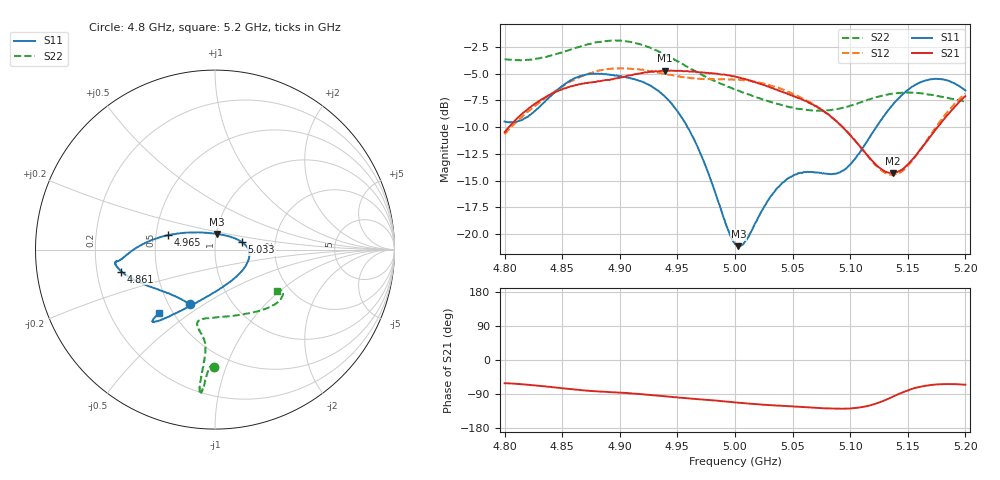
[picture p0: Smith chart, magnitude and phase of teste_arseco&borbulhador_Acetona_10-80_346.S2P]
! Network Analyzer HP8722D
! Hewlett-Packard
! Data name: Linha & Wilkinson
! Saver's name: Rodrigo Anjos
! Comments: Teste da utilização de aquisição
! continua pelo VNA HP8722D
! Time and date: 17/4/2025 17:14
!  Frequency  S11  S21  S12  S22
# HZ  S  MA R 50
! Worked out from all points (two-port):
!   401 points, 4.8 GHz to 5.2 GHz, reference 50 ohm
!   highest |S21| = -4.72 dB at 4.939 GHz (marker M1); lowest = -14.3 dB at 5.137 GHz (marker M2)
!   |S21| within 3 dB of the highest: 4.828 GHz to 5.064 GHz (236.1 MHz wide, 4.77 % of centre); 5.194102 GHz to end of sweep
!   lowest |S11| = -21.1 dB at 5.003 GHz (marker M3), VSWR 1.19, Z = 50.2 + j8.84 ohm
!   |S11| at or under -10 dB: 4.959 GHz to 5.123 GHz (163.9 MHz wide, 3.25 % of centre)
!   |S22| runs from -8.5 to -1.9 dB; largest |S21 - S12| = 0.87
!   S11 on the Smith chart (normalised r, x): 4.8 GHz: 0.64, -0.44; 4.861 GHz: 0.31, -0.11; 4.965 GHz: 0.58, +0.10; 5.033 GHz: 1.34, +0.12; 5.2 GHz: 0.42, -0.38
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4.8e9  0.3358 -114.9  0.2991 -61.3  0.2929 -175.3  0.6566 -90.5
4.819e9  0.3515 -135.0  0.3793 -64.9  0.3682 -174.6  0.6511 -92.1
4.861e9  0.5353 -166.7  0.495 -78.0  0.5291 -177.8  0.7381 -94.4
4.867e9  0.5501 -169.1  0.5047 -79.8  0.5471 -179.1  0.7569 -94.6
4.9e9  0.5468 -173.3  0.5371 -86.1  0.5947 174.6  0.8016 -95.9
4.934e9  0.4643 -179.1  0.5768 -94.4  0.5685 171.1  0.7109 -96.3
4.939e9  0.4397 178.9  0.5808 -95.8  0.562 171.0  0.691 -96.1
4.965e9  0.2731 162.9  0.5753 -102.8  0.5339 173.0  0.5789 -95.4
4.994e9  0.1043 116.3  0.5513 -110.1  0.5284 175.4  0.487 -98.1
5e9  0.09016 95.8  0.5446 -111.9  0.5281 175.5  0.4743 -99.3
5.003e9  0.08792 83.9  0.5389 -112.9  0.5268 175.4  0.4676 -100.2
5.01e9  0.09417 58.8  0.5264 -114.5  0.5208 175.2  0.4525 -101.4
5.033e9  0.1552 15.9  0.4807 -119.7  0.4895 174.0  0.411 -103.3
5.049e9  0.1856 0.3  0.4444 -122.2  0.4551 173.6  0.3908 -99.3
5.067e9  0.1952 -19.0  0.4039 -125.6  0.4082 173.2  0.3781 -89.8
5.096e9  0.2023 -69.5  0.3058 -128.4  0.3063 174.7  0.3922 -67.2
5.123e9  0.3186 -110.2  0.2094 -114.3  0.2083 -169.1  0.437 -48.6
5.134e9  0.3845 -118.6  0.1933 -100.9  0.1898 -154.0  0.4508 -43.1
5.137e9  0.4019 -120.4  0.1926 -97.0  0.189 -149.2  0.4536 -41.9
5.15e9  0.471 -126.0  0.2113 -80.4  0.2082 -130.0  0.4585 -37.0
5.17e9  0.5284 -130.3  0.2869 -66.0  0.2926 -112.1  0.4476 -32.4
5.2e9  0.4686 -131.6  0.4409 -65.3  0.4531 -107.4  0.4156 -33.9
